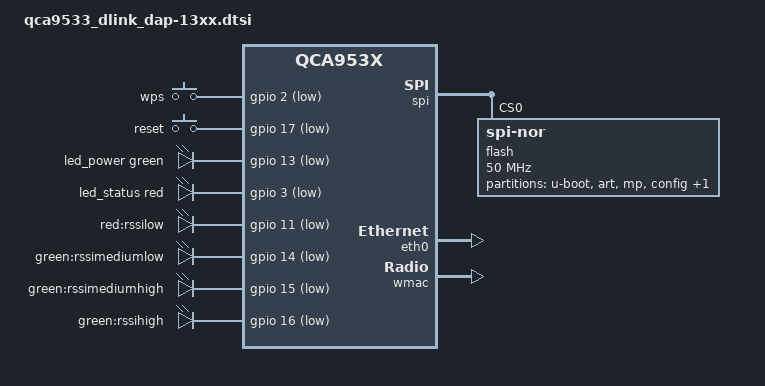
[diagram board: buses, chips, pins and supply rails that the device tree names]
// SPDX-License-Identifier: GPL-2.0-or-later OR MIT

#include "qca953x.dtsi"

#include <dt-bindings/gpio/gpio.h>
#include <dt-bindings/input/input.h>
#include <dt-bindings/leds/common.h>

/ {
	aliases {
		led-boot = &led_power;
		led-failsafe = &led_status;
		led-running = &led_power;
		led-upgrade = &led_status;
	};

	keys {
		compatible = "gpio-keys";

		wps {
			label = "wps";
			linux,code = <KEY_WPS_BUTTON>;
			gpios = <&gpio 2 GPIO_ACTIVE_LOW>;
		};

		reset {
			label = "reset";
			linux,code = <KEY_RESTART>;
			gpios = <&gpio 17 GPIO_ACTIVE_LOW>;
		};
	};

	leds {
		compatible = "gpio-leds";

		led_power: power {
			function = LED_FUNCTION_POWER;
			color = <LED_COLOR_ID_GREEN>;
			gpios = <&gpio 13 GPIO_ACTIVE_LOW>;
		};

		led_status: status {
			function = LED_FUNCTION_STATUS;
			color = <LED_COLOR_ID_RED>;
			gpios = <&gpio 3 GPIO_ACTIVE_LOW>;
		};

		rssilow {
			label = "red:rssilow";
			gpios = <&gpio 11 GPIO_ACTIVE_LOW>;
		};

		rssimediumlow {
			label = "green:rssimediumlow";
			gpios = <&gpio 14 GPIO_ACTIVE_LOW>;
		};

		rssimediumhigh {
			label = "green:rssimediumhigh";
			gpios = <&gpio 15 GPIO_ACTIVE_LOW>;
		};

		rssihigh {
			label = "green:rssihigh";
			gpios = <&gpio 16 GPIO_ACTIVE_LOW>;
		};
	};
};

&spi {
	status = "okay";

	flash@0 {
		compatible = "jedec,spi-nor";
		reg = <0>;
		spi-max-frequency = <50000000>;

		partitions {
			compatible = "fixed-partitions";
			#address-cells = <1>;
			#size-cells = <1>;

			partition@0 {
				label = "u-boot";
				reg = <0x0 0x10000>;
				read-only;
			};

			partition@10000 {
				label = "art";
				reg = <0x10000 0x10000>;
				read-only;

				nvmem-layout {
					compatible = "fixed-layout";
					#address-cells = <1>;
					#size-cells = <1>;

					cal_art_1000: calibration@1000 {
						reg = <0x1000 0x440>;
					};
				};
			};

			partition@20000 {
				label = "mp";
				reg = <0x20000 0x10000>;
				read-only;
			};

			partition@30000 {
				label = "config";
				reg = <0x30000 0x10000>;
				read-only;
			};

			partition@40000 {
				label = "firmware";
				reg = <0x40000 0x7c0000>;
				compatible = "denx,uimage";
			};
		};
	};
};

&eth0 {
	status = "okay";
};

&wmac {
	status = "okay";

	nvmem-cells = <&cal_art_1000>;
	nvmem-cell-names = "calibration";
};
